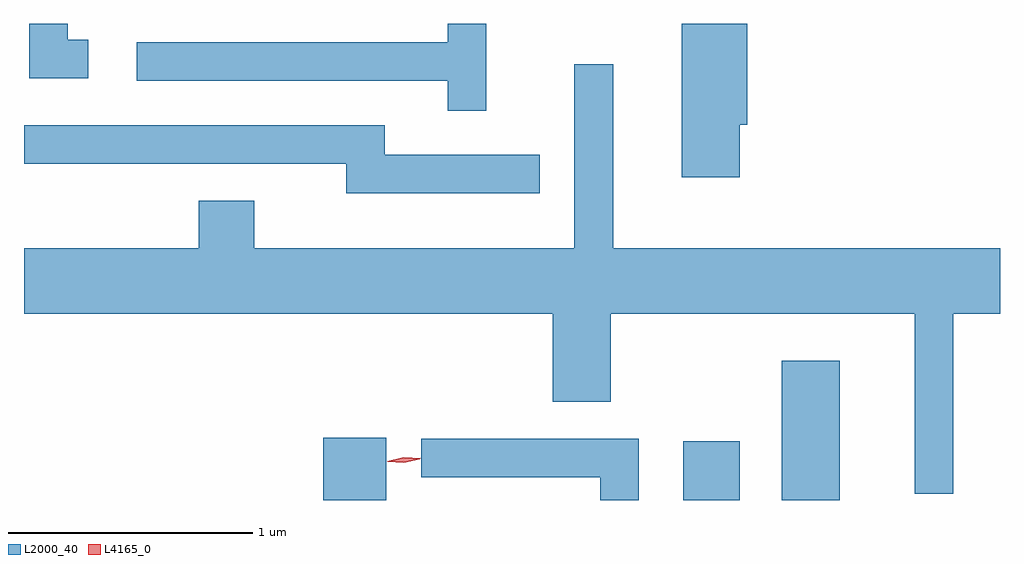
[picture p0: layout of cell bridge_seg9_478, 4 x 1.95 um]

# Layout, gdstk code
import gdstk
lib = gdstk.Library(unit=1e-6, precision=1e-09)
def R(c, l, rs):  # rectangles x0, y0, x1, y1
    for r in rs: c.add(gdstk.rectangle(r[:2], r[2:], *l))
def P(c, l, *ps):  # polygons
    for p in ps: c.add(gdstk.Polygon(p, *l))
L2000_40 = (2000, 40)
L4165_0 = (4165, 0)

bridge_seg9_478 = lib.new_cell('bridge_seg9_478')
R(bridge_seg9_478, L2000_40, [(539.016,1944.432,539.274,1944.689), (540.491,1944.432,540.724,1944.674), (540.896,1944.432,541.134,1945.004)])
P(bridge_seg9_478, L2000_40, [(538.053,1946.319),(537.969,1946.319),(537.969,1946.385),(537.811,1946.385),(537.811,1946.161),(538.053,1946.161)],
  [(539.684,1946.385),(539.526,1946.385),(539.526,1946.309),(538.253,1946.309),(538.253,1946.151),(539.526,1946.151),(539.526,1946.028),(539.684,1946.028)],
  [(540.724,1945.971),(540.754,1945.971),(540.754,1946.385),(540.486,1946.385),(540.486,1945.756),(540.724,1945.756)],
  [(541.599,1945.196),(541.79,1945.196),(541.79,1945.464),(540.204,1945.464),(540.204,1946.218),(540.046,1946.218),(540.046,1945.464),(538.734,1945.464),(538.734,1945.659),(538.506,1945.659),(538.506,1945.464),(537.79,1945.464),(537.79,1945.196),(539.956,1945.196),(539.956,1944.836),(540.194,1944.836),(540.194,1945.196),(541.441,1945.196),(541.441,1944.458),(541.599,1944.458)],
  [(539.903,1945.849),(539.269,1945.849),(539.269,1945.969),(537.79,1945.969),(537.79,1945.811),(539.111,1945.811),(539.111,1945.691),(539.903,1945.691)],
  [(540.309,1944.684),(539.418,1944.684),(539.418,1944.526),(540.151,1944.526),(540.151,1944.432),(540.309,1944.432)])
P(bridge_seg9_478, L4165_0, [(539.347,1944.588),(539.278,1944.591),(539.278,1944.592),(539.278,1944.592),(539.346,1944.608),(539.415,1944.605),(539.416,1944.604),(539.415,1944.604)],
  [(539.347,1944.586),(539.281,1944.589),(539.28,1944.589),(539.281,1944.59),(539.346,1944.606),(539.412,1944.602),(539.412,1944.602),(539.412,1944.601)])

lib.write_gds('bridge_seg9_478.gds')
